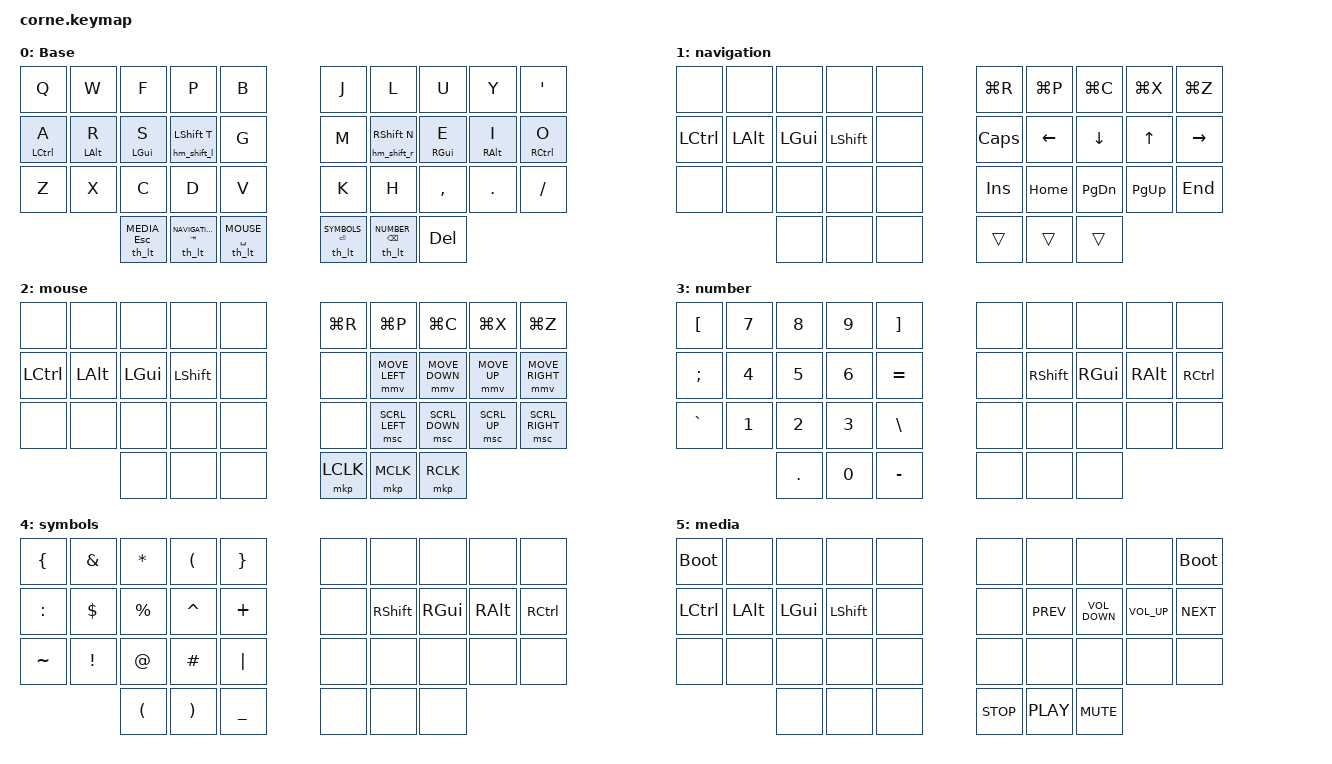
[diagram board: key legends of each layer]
/*
 * Copyright (c) 2020 The ZMK Contributors
 *
 * SPDX-License-Identifier: MIT
 */

#include <behaviors.dtsi>

#include <dt-bindings/zmk/keys.h>
#include <dt-bindings/zmk/bt.h>

#define ZMK_POINTING_DEFAULT_MOVE_VAL 2000
#define ZMK_POINTING_DEFAULT_SCRL_VAL 60

#include <dt-bindings/zmk/mouse.h>
#include <dt-bindings/zmk/pointing.h>

#include "zmk-helpers/helper.h"
#include "zmk-helpers/key-labels/36.h"


/*                                      36 KEY MATRIX / LAYOUT MAPPING
  ╭────────────────────┬────────────────────╮ ╭─────────────────────┬─────────────────────╮
  │  0   1   2   3   4 │  5   6   7   8   9 │ │ LT4 LT3 LT2 LT1 LT0 │ RT0 RT1 RT2 RT3 RT4 │
  │ 10  11  12  13  14 │ 15  16  17  18  19 │ │ LM4 LM3 LM2 LM1 LM0 │ RM0 RM1 RM2 RM3 RM4 │
  │ 20  21  22  23  24 │ 25  26  27  28  29 │ │ LB4 LB3 LB2 LB1 LB0 │ RB0 RB1 RB2 RB3 RB4 │
  ╰───────╮ 30  31  32 │ 33  34  35 ╭───────╯ ╰───────╮ LH2 LH1 LH0 │ RH0 RH1 RH2 ╭───────╯
          ╰────────────┴────────────╯                 ╰─────────────┴─────────────╯     */

#define KEYS_L LT0 LT1 LT2 LT3 LT4 LM0 LM1 LM2 LM3 LM4 LB0 LB1 LB2 LB3 LB4
#define KEYS_R RT0 RT1 RT2 RT3 RT4 RM0 RM1 RM2 RM3 RM4 RB0 RB1 RB2 RB3 RB4
#define KEYS_T LH2 LH1 LH0 RH0 RH1 RH2

#define CAPS_COMBO_KEYS LM1 RM1

#define DEFAULT    0
#define NAVIGATION 1
#define MOUSE      2
#define NUMBER     3
#define SYMBOLS    4
#define MEDIA      5

#include "includes/settings.dtsi"
#include "includes/behaviours_mods.dtsi"
#include "includes/combos.dtsi"

/ {
    chosen {
        zmk,physical-layout = &foostan_corne_5col_layout;
    };
    keymap {
        compatible = "zmk,keymap";

        base {
            display-name = "Base";
            bindings = <
// ╭────────────────────────┬────────────────────────┬────────────────────────┬────────────────────────┬────────────────────────╮         ╭────────────────────────┬────────────────────────┬────────────────────────┬───────────────────────┬────────────────────────╮
     &kp Q                    &kp W                    &kp F                    &kp P                    &kp B                              &kp J                    &kp L                    &kp U                    &kp Y                   &kp SQT
// │────────────────────────┼────────────────────────┼────────────────────────┼────────────────────────┼────────────────────────│         │────────────────────────┼────────────────────────┼────────────────────────┼───────────────────────┼────────────────────────│
     &hm_l LCTRL A            &hm_l LALT R             &hm_l LGUI S             &hm_shift_l LSHIFT T     &kp G                              &kp M                    &hm_shift_r RSHIFT N     &hm_r RGUI E             &hm_r RALT I            &hm_r RCTRL O
// │────────────────────────┼────────────────────────┼────────────────────────┼────────────────────────┼────────────────────────│         │────────────────────────┼────────────────────────┼────────────────────────┼───────────────────────┼────────────────────────│
     &kp Z                    &kp X                    &kp C                    &kp D                    &kp V                              &kp K                    &kp H                    &kp COMMA                &kp DOT                 &kp FSLH
// ╰────────────────────────┼────────────────────────┼────────────────────────┼────────────────────────┼────────────────────────┤         ├────────────────────────┼────────────────────────┼────────────────────────┼───────────────────────┼────────────────────────╯
                                                       &th_lt MEDIA ESC         &th_lt NAVIGATION TAB    &th_lt MOUSE SPACE                 &th_lt SYMBOLS RET       &th_lt NUMBER BSPC       &kp DEL
//                                                   ╰────────────────────────┴────────────────────────┴────────────────────────╯         ╰────────────────────────┴────────────────────────┴────────────────────────╯
            >;
        };

        navigation {
            bindings = <
// ╭────────────────────────┬────────────────────────┬────────────────────────┬────────────────────────┬────────────────────────╮         ╭────────────────────────┬────────────────────────┬────────────────────────┬───────────────────────┬────────────────────────╮
     &none                    &none                    &none                    &none                    &none                              &kp LG(R)                &kp LG(P)                &kp LG(C)                &kp LG(X)               &kp LG(Z)
// │────────────────────────┼────────────────────────┼────────────────────────┼────────────────────────┼────────────────────────│         │────────────────────────┼───────────────────────┼────────────────────────┼───────────────────────┼────────────────────────│
     &kp LCTRL                &kp LALT                 &kp LGUI                 &kp LSHIFT               &none                              &kp CAPS                 &kp LEFT                 &kp DOWN                 &kp UP                  &kp RIGHT
// │────────────────────────┼────────────────────────┼────────────────────────┼────────────────────────┼────────────────────────│         │────────────────────────┼───────────────────────┼────────────────────────┼───────────────────────┼────────────────────────│
     &none                    &none                    &none                    &none                    &none                              &kp INS                  &kp HOME                 &kp PAGE_DOWN            &kp PAGE_UP             &kp END
// ╰────────────────────────┼────────────────────────┼────────────────────────┼────────────────────────┼────────────────────────┤         ├────────────────────────┼───────────────────────┼────────────────────────┼───────────────────────┼────────────────────────╯
                                                       &none                    &none                    &none                              &trans                   &trans                   &trans
//                                                   ╰────────────────────────┴────────────────────────┴────────────────────────╯         ╰────────────────────────┴────────────────────────┴────────────────────────╯
            >;
        };

        mouse {
            bindings = <
// ╭────────────────────────┬────────────────────────┬────────────────────────┬────────────────────────┬────────────────────────╮         ╭────────────────────────┬────────────────────────┬────────────────────────┬───────────────────────┬────────────────────────╮
     &none                    &none                    &none                    &none                    &none                              &kp LG(R)                &kp LG(P)                &kp LG(C)                &kp LG(X)               &kp LG(Z)
// │────────────────────────┼────────────────────────┼────────────────────────┼────────────────────────┼────────────────────────│         │────────────────────────┼────────────────────────┼────────────────────────┼───────────────────────┼────────────────────────│
     &kp LCTRL                &kp LALT                 &kp LGUI                 &kp LSHIFT               &none                              &none                    &mmv MOVE_LEFT           &mmv MOVE_DOWN           &mmv MOVE_UP            &mmv MOVE_RIGHT
// │────────────────────────┼────────────────────────┼────────────────────────┼────────────────────────┼────────────────────────│         │────────────────────────┼────────────────────────┼────────────────────────┼───────────────────────┼────────────────────────│
     &none                    &none                    &none                    &none                    &none                              &none                    &msc SCRL_LEFT           &msc SCRL_DOWN           &msc SCRL_UP            &msc SCRL_RIGHT
// ╰────────────────────────┼────────────────────────┼────────────────────────┼────────────────────────┼────────────────────────┤         ├────────────────────────┼────────────────────────┼────────────────────────┼───────────────────────┼────────────────────────╯
                                                       &none                    &none                    &none                              &mkp LCLK                &mkp MCLK                &mkp RCLK
//                                                   ╰────────────────────────┴────────────────────────┴────────────────────────╯         ╰────────────────────────┴────────────────────────┴────────────────────────╯
            >;
        };

        number {
            bindings = <
// ╭────────────────────────┬────────────────────────┬────────────────────────┬────────────────────────┬────────────────────────╮         ╭────────────────────────┬────────────────────────┬────────────────────────┬───────────────────────┬────────────────────────╮
     &kp LBKT                 &kp N7                   &kp N8                   &kp N9                   &kp RBKT                           &none                    &none                    &none                    &none                   &none
// │────────────────────────┼────────────────────────┼────────────────────────┼────────────────────────┼────────────────────────│         │────────────────────────┼───────────────────────┼────────────────────────┼───────────────────────┼────────────────────────│
     &kp SEMI                 &kp N4                   &kp N5                   &kp N6                   &kp EQUAL                          &none                    &kp RSHIFT               &kp RGUI                 &kp RALT                &kp RCTRL
// │────────────────────────┼────────────────────────┼────────────────────────┼────────────────────────┼────────────────────────│         │────────────────────────┼────────────────────────┼────────────────────────┼───────────────────────┼────────────────────────│
     &kp GRAVE                &kp N1                   &kp N2                   &kp N3                   &kp BSLH                           &none                    &none                    &none                    &none                   &none
// ╰────────────────────────┼────────────────────────┼────────────────────────┼────────────────────────┼────────────────────────┤         ├────────────────────────┼───────────────────────┼────────────────────────┼───────────────────────┼────────────────────────╯
                                                       &kp DOT                  &kp N0                   &kp MINUS                          &none                    &none                    &none
//                                                   ╰────────────────────────┴────────────────────────┴────────────────────────╯         ╰────────────────────────┴────────────────────────┴────────────────────────╯
            >;
        };

        symbols {
            bindings = <
// ╭────────────────────────┬────────────────────────┬────────────────────────┬────────────────────────┬────────────────────────╮         ╭────────────────────────┬────────────────────────┬────────────────────────┬───────────────────────┬────────────────────────╮
     &kp LBRC                 &kp AMPERSAND            &kp STAR                 &kp LPAR                 &kp RBRC                           &none                    &none                    &none                    &none                   &none
// │────────────────────────┼────────────────────────┼────────────────────────┼────────────────────────┼────────────────────────│         │────────────────────────┼────────────────────────┼────────────────────────┼───────────────────────┼────────────────────────│
     &kp COLON                &kp DOLLAR               &kp PERCENT              &kp CARET                &kp PLUS                           &none                    &kp RSHIFT               &kp RGUI                 &kp RALT                &kp RCTRL
// │────────────────────────┼────────────────────────┼────────────────────────┼────────────────────────┼────────────────────────│         │────────────────────────┼────────────────────────┼────────────────────────┼───────────────────────┼────────────────────────│
     &kp TILDE                &kp EXCLAMATION          &kp AT                   &kp HASH                 &kp PIPE                           &none                    &none                    &none                    &none                   &none
// ╰────────────────────────┼────────────────────────┼────────────────────────┼────────────────────────┼────────────────────────┤         ├────────────────────────┼────────────────────────┼────────────────────────┼───────────────────────┼────────────────────────╯
                                                       &kp LPAR                 &kp RPAR                 &kp UNDERSCORE                     &none                    &none                    &none
//                                                   ╰───────────────────────┴────────────────────────┴────────────────────────╯         ╰────────────────────────┴────────────────────────┴────────────────────────╯
            >;
        };

        media {
            bindings = <
// ╭────────────────────────┬────────────────────────┬────────────────────────┬────────────────────────┬────────────────────────╮         ╭────────────────────────┬────────────────────────┬────────────────────────┬───────────────────────┬────────────────────────╮
     &bootloader              &none                    &none                    &none                    &none                              &none                    &none                    &none                    &none                   &bootloader
// │────────────────────────┼────────────────────────┼────────────────────────┼────────────────────────┼────────────────────────│         │────────────────────────┼───────────────────────┼────────────────────────┼───────────────────────┼────────────────────────│
     &kp LCTRL                &kp LALT                 &kp LGUI                 &kp LSHIFT               &none                              &none                    &kp C_PREV               &kp C_VOLUME_DOWN        &kp C_VOLUME_UP         &kp C_NEXT
// │────────────────────────┼────────────────────────┼────────────────────────┼────────────────────────┼────────────────────────│         │────────────────────────┼───────────────────────┼────────────────────────┼───────────────────────┼────────────────────────│
     &none                    &none                    &none                    &none                    &none                              &none                    &none                    &none                    &none                   &none
// ╰────────────────────────┼────────────────────────┼────────────────────────┼────────────────────────┼────────────────────────┤         ├────────────────────────┼───────────────────────┼────────────────────────┼───────────────────────┼────────────────────────╯
                                                       &none                    &none                    &none                              &kp C_STOP               &kp C_PLAY               &kp C_MUTE
//                                                   ╰────────────────────────┴────────────────────────┴────────────────────────╯         ╰────────────────────────┴────────────────────────┴────────────────────────╯
            >;
        };
    };
};

